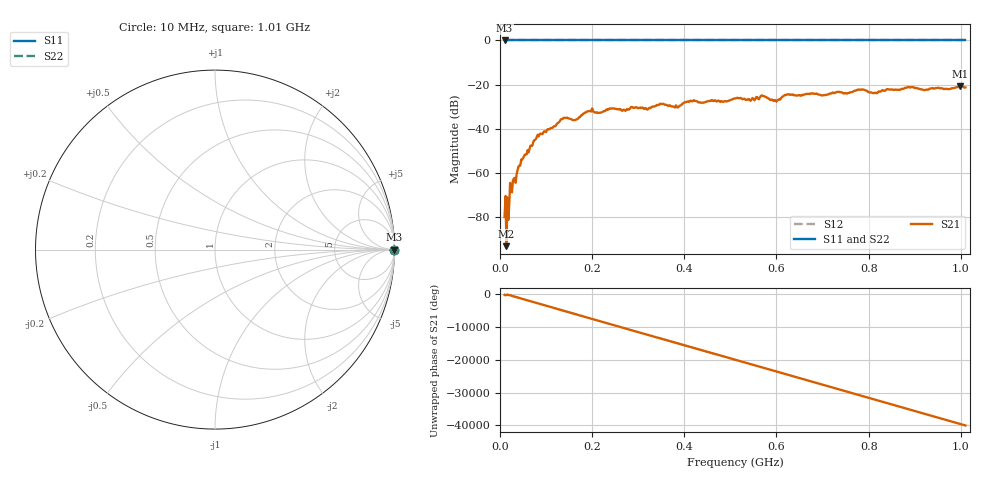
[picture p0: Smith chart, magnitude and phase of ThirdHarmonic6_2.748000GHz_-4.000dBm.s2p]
! 8/17/2025 6:51:25 AM
! C:\ANRITSUVNA\TEMP\TEMP.S2P
! CHANNEL.1
! TR.MEASUREMENT
! RAW.DATA
! RF.CORRECTION.OFF
! AVERAGING.OFF
! IF.BANDWIDTH: 5KHZ
! SWEEPTYPE:  FREQ.SWEEP(Linear)
! Reference Plane Port Info
! PORT:  PORT1  PORT2
! DISTANCE:  0  m  0  m
! TIME:  0  s  0  s
! PHASE.OFFSET:  0  deg.  0  deg.
! LOSS:  0  dB  0  dB
! REF.LOSS:  0  dB  0  dB
! REF.FREQ:  0  Hz  0  Hz
! Power Info
! POWER:  -20  dBm  -20  dBm
! EFF.POWER:  -20  dBm  -20  dBm
! SOURCE.ATTEN:  0  dB  0  dB
! TEST.ATTEN:  0  dB  0  dB
# GHZ S RI R 50.0
! FREQ.GHZ  S11RE  S11IM  S21RE  S21IM  S12RE  S12IM  S22RE  S22IM
!; PortSelection: Port_12
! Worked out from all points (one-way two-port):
!   501 points, 10 MHz to 1.01 GHz, reference 50 ohm
!   highest |S21| = -20.70 dB at 998 MHz (marker M1); lowest = -93.2 dB at 14 MHz (marker M2)
!   lowest |S11| = 0.0 dB at 10 MHz (marker M3)
!   |S11| at or under -10 dB: nowhere
!   |S22| runs from 0.0 to 0.0 dB; largest |S21 - S12| = 1.1
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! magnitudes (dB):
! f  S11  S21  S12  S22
! 10 MHz  0.0  -80.0  0.0  0.0
! 14 MHz  0.0  -93.2  0.0  0.0
! 22 MHz  0.0  -64.6  0.0  0.0
! 26 MHz  0.0  -68.8  0.0  0.0
! 44 MHz  0.0  -56.7  0.0  0.0
! 78 MHz  0.0  -44.6  0.0  0.0
! 136 MHz  0.0  -35.6  0.0  0.0
! 162 MHz  0.0  -36.1  0.0  0.0
! 178 MHz  0.0  -33.8  0.0  0.0
! 196 MHz  0.0  -31.9  0.0  0.0
! 318 MHz  0.0  -30.9  0.0  0.0
! 344 MHz  0.0  -29.3  0.0  0.0
! 382 MHz  0.0  -29.4  0.0  0.0
! 416 MHz  0.0  -27.5  0.0  0.0
! 510 MHz  0.0  -26.2  0.0  0.0
! 570 MHz  0.0  -25.0  0.0  0.0
! 598 MHz  0.0  -27.2  0.0  0.0
! 622 MHz  0.0  -24.6  0.0  0.0
! 678 MHz  0.0  -23.9  0.0  0.0
! 844 MHz  0.0  -22.2  0.0  0.0
! 998 MHz  0.0  -20.7  0.0  0.0
! 1.01 GHz  0.0  -21.3  0.0  0.0
